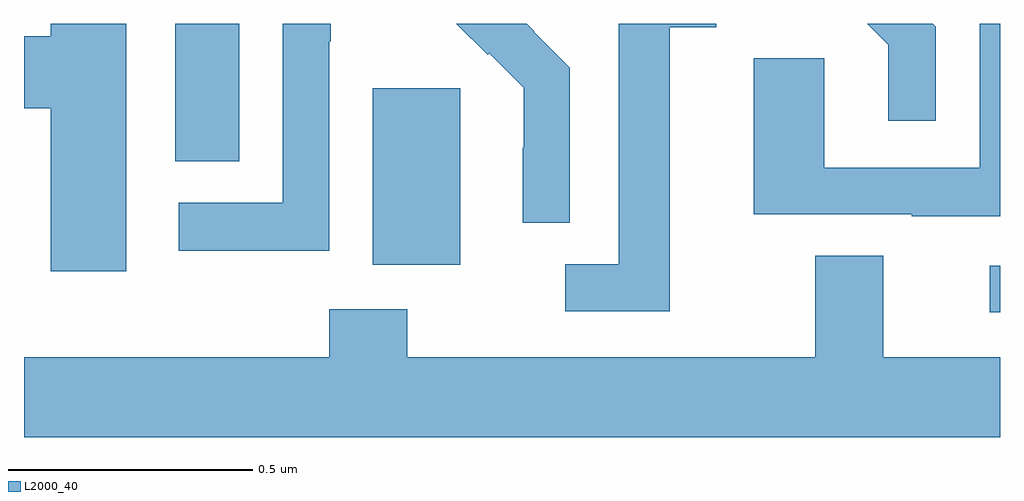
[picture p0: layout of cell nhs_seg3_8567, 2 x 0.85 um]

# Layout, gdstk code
import gdstk
lib = gdstk.Library(unit=1e-6, precision=1e-09)
def R(c, l, rs):  # rectangles x0, y0, x1, y1
    for r in rs: c.add(gdstk.rectangle(r[:2], r[2:], *l))
def P(c, l, *ps):  # polygons
    for p in ps: c.add(gdstk.Polygon(p, *l))
L2000_40 = (2000, 40)

nhs_seg3_8567 = lib.new_cell('nhs_seg3_8567')
R(nhs_seg3_8567, L2000_40, [(218.979,731.808,219,731.904), (217.715,731.906,217.894,732.267), (217.31,732.118,217.441,732.4)])
P(nhs_seg3_8567, L2000_40, [(217.21,732.4),(217.055,732.4),(217.055,732.374),(217,732.374),(217,732.227),(217.055,732.227),(217.055,731.892),(217.21,731.892)],
  [(218.323,732.392),(218.419,732.392),(218.419,732.4),(218.219,732.4),(218.219,731.907),(218.109,731.907),(218.109,731.811),(218.323,731.811)],
  [(218.868,732.394),(218.862,732.4),(218.728,732.4),(218.771,732.357),(218.771,732.201),(218.868,732.201)],
  [(219,732.4),(218.958,732.4),(218.958,732.105),(218.64,732.105),(218.64,732.329),(218.495,732.329),(218.495,732.009),(218.819,732.009),(218.819,732.005),(219,732.005)],
  [(217.626,732.364),(217.629,732.364),(217.629,732.4),(217.53,732.4),(217.53,732.033),(217.317,732.033),(217.317,731.935),(217.626,731.935)],
  [(218.118,732.31),(218.045,732.383),(218.046,732.384),(218.03,732.4),(217.886,732.4),(217.95,732.336),(217.953,732.339),(218.024,732.269),(218.024,732.146),(218.022,732.146),(218.022,731.992),(218.118,731.992)],
  [(219,731.716),(218.761,731.716),(218.761,731.924),(218.621,731.924),(218.621,731.716),(217.785,731.716),(217.785,731.815),(217.625,731.815),(217.625,731.716),(217,731.716),(217,731.552),(219,731.552)])

lib.write_gds('nhs_seg3_8567.gds')
